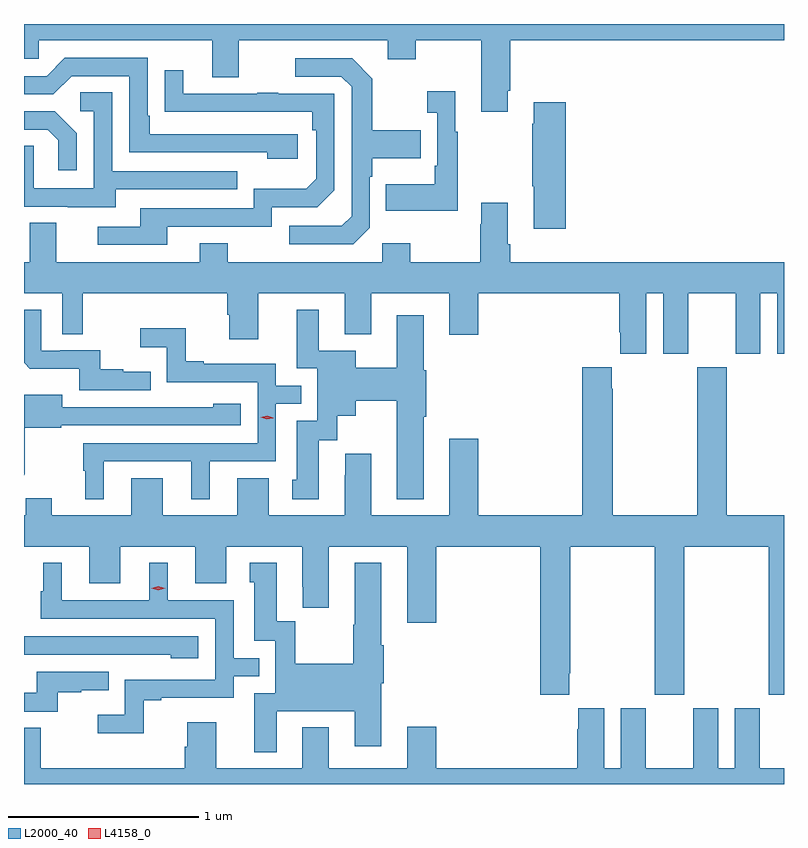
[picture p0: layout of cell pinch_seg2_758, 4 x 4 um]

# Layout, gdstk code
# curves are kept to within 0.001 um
import gdstk
lib = gdstk.Library(unit=1e-6, precision=1e-09)
def P(c, l, *ps):  # polygons
    for p in ps: c.add(gdstk.Polygon(p, *l))
L2000_40 = (2000, 40)
L4158_0 = (4158, 0)

pinch_seg2_758 = lib.new_cell('pinch_seg2_758')
P(pinch_seg2_758, L2000_40, [(735.733,663.355),(735.746,663.355),(735.746,663.62),(737.186,663.62),(737.186,663.706),(733.186,663.706),(733.186,663.522),(733.263,663.522),(733.263,663.62),(734.177,663.62),(734.177,663.426),(734.317,663.426),(734.317,663.62),(735.101,663.62),(735.101,663.521),(735.249,663.521),(735.249,663.62),(735.593,663.62),(735.593,663.243),(735.733,663.243)],
  [(734.626,663.126),(733.849,663.126),(733.849,663.223),(733.836,663.223),(733.836,663.528),(733.401,663.528),(733.305,663.432),(733.187,663.432),(733.186,663.429),(733.186,663.336),(733.341,663.336),(733.437,663.432),(733.74,663.432),(733.74,663.03),(734.465,663.03),(734.465,662.996),(734.626,662.996)],
  [(735.006,662.634),(735.006,662.903),(735.019,662.903),(735.019,662.999),(735.275,662.999),(735.275,663.147),(735.019,663.147),(735.019,663.419),(734.913,663.525),(734.613,663.525),(734.613,663.429),(734.856,663.429),(734.91,663.375),(734.91,662.694),(734.859,662.643),(734.583,662.643),(734.583,662.547),(734.919,662.547)],
  [(733.939,662.64),(734.49,662.64),(734.49,662.742),(734.73,662.742),(734.82,662.832),(734.82,663.339),(734.525,663.339),(734.525,663.344),(734.413,663.344),(734.413,663.339),(734.023,663.339),(734.023,663.463),(733.927,663.463),(733.927,663.244),(734.704,663.243),(734.704,663.146),(734.724,663.146),(734.724,662.892),(734.671,662.839),(734.394,662.839),(734.394,662.736),(733.799,662.736),(733.799,662.64),(733.575,662.64),(733.575,662.544),(733.939,662.544)],
  [(735.469,663.139),(735.457,663.139),(735.457,663.352),(735.309,663.352),(735.309,663.239),(735.36,663.239),(735.36,662.959),(735.348,662.959),(735.348,662.863),(735.091,662.863),(735.091,662.723),(735.469,662.723)],
  [(733.669,662.835),(734.309,662.835),(734.309,662.931),(733.65,662.931),(733.65,663.347),(733.482,663.347),(733.482,663.246),(733.554,663.246),(733.554,662.841),(733.236,662.841),(733.236,663.065),(733.186,663.065),(733.186,662.745),(733.415,662.745),(733.415,662.741),(733.669,662.741)],
  [(736.037,663.295),(735.869,663.295),(735.869,663.182),(735.862,663.182),(735.862,662.851),(735.869,662.851),(735.869,662.628),(736.037,662.628)],
  [(733.464,663.13),(733.348,663.246),(733.186,663.246),(733.186,663.15),(733.31,663.15),(733.367,663.093),(733.367,662.937),(733.464,662.937)],
  [(733.357,662.66),(733.217,662.66),(733.217,662.452),(733.186,662.452),(733.186,662.288),(733.386,662.288),(733.386,662.074),(733.495,662.074),(733.495,662.288),(734.255,662.288),(734.255,662.175),(734.267,662.175),(734.267,662.046),(734.419,662.046),(734.419,662.288),(734.873,662.288),(734.873,662.072),(735.013,662.072),(735.013,662.288),(735.425,662.288),(735.425,662.07),(735.578,662.07),(735.578,662.288),(736.319,662.288),(736.319,662.083),(736.325,662.083),(736.325,661.971),(736.462,661.971),(736.462,662.288),(736.55,662.288),(736.55,661.971),(736.681,661.971),(736.681,662.288),(736.931,662.288),(736.931,661.971),(737.062,661.971),(737.062,662.288),(737.15,662.288),(737.15,661.971),(737.186,661.971),(737.186,662.452),(735.746,662.452),(735.746,662.548),(735.733,662.548),(735.733,662.764),(735.593,662.764),(735.593,662.651),(735.586,662.651),(735.586,662.452),(735.219,662.452),(735.219,662.551),(735.072,662.551),(735.072,662.452),(734.259,662.452),(734.259,662.551),(734.111,662.551),(734.111,662.452),(733.357,662.452)],
  [(733.853,661.876),(733.709,661.876),(733.709,661.888),(733.586,661.888),(733.586,661.989),(733.378,661.989),(733.378,661.986),(733.278,661.986),(733.278,662.203),(733.186,662.203),(733.186,661.922),(733.217,661.892),(733.476,661.892),(733.476,661.779),(733.853,661.779)],
  [(735.289,661.64),(735.302,661.64),(735.302,661.884),(735.289,661.884),(735.289,662.173),(735.149,662.173),(735.149,661.896),(734.932,661.896),(734.932,661.987),(734.737,661.987),(734.737,662.203),(734.621,662.203),(734.621,661.893),(734.73,661.893),(734.73,661.617),(734.621,661.617),(734.621,661.308),(734.597,661.308),(734.597,661.206),(734.737,661.206),(734.737,661.514),(734.835,661.514),(734.835,661.643),(734.932,661.643),(734.932,661.724),(735.149,661.724),(735.149,661.205),(735.289,661.205)],
  [(733.606,661.404),(734.066,661.404),(734.066,661.205),(734.164,661.205),(734.164,661.404),(734.511,661.404),(734.511,661.707),(734.644,661.707),(734.644,661.803),(734.511,661.803),(734.511,661.917),(734.131,661.917),(734.131,661.93),(734.037,661.93),(734.037,662.105),(733.797,662.105),(733.797,662.006),(733.938,662.006),(733.938,661.821),(734.415,661.821),(734.415,661.5),(733.497,661.5),(733.497,661.356),(733.508,661.356),(733.508,661.205),(733.606,661.205)],
  [(735.578,661.522),(735.425,661.522),(735.425,661.12),(735.013,661.12),(735.013,661.444),(734.876,661.444),(734.876,661.331),(734.873,661.331),(734.873,661.12),(734.473,661.12),(734.473,661.315),(734.309,661.315),(734.309,661.12),(733.915,661.12),(733.915,661.315),(733.751,661.315),(733.751,661.12),(733.333,661.12),(733.333,661.211),(733.195,661.211),(733.195,661.12),(733.186,661.12),(733.186,660.956),(733.529,660.956),(733.529,660.762),(733.693,660.762),(733.693,660.956),(734.087,660.956),(734.087,660.762),(734.251,660.762),(734.251,660.956),(734.651,660.956),(734.651,660.745),(734.654,660.745),(734.654,660.633),(734.791,660.633),(734.791,660.956),(735.203,660.956),(735.203,660.555),(735.356,660.555),(735.356,660.956),(735.902,660.956),(735.902,660.177),(736.057,660.177),(736.057,660.289),(736.062,660.289),(736.062,660.956),(736.507,660.956),(736.507,660.177),(736.662,660.177),(736.662,660.956),(737.107,660.956),(737.107,660.177),(737.186,660.177),(737.186,661.12),(736.884,661.12),(736.884,661.9),(736.729,661.9),(736.729,661.12),(736.284,661.12),(736.284,661.787),(736.279,661.787),(736.279,661.9),(736.124,661.9),(736.124,661.12),(735.578,661.12)],
  [(733.191,661.335),(733.191,661.581),(733.383,661.581),(733.383,661.593),(734.326,661.593),(734.326,661.708),(734.181,661.708),(734.181,661.69),(733.387,661.689),(733.387,661.756),(733.186,661.756),(733.186,661.33)],
  [(734.515,660.089),(734.927,660.089),(734.927,659.904),(735.067,659.904),(735.067,660.236),(735.08,660.236),(735.08,660.436),(735.067,660.436),(735.067,660.871),(734.927,660.871),(734.927,660.545),(734.92,660.545),(734.92,660.34),(734.613,660.34),(734.613,660.563),(734.515,660.563),(734.515,660.871),(734.375,660.871),(734.375,660.768),(734.399,660.768),(734.399,660.459),(734.508,660.459),(734.508,660.183),(734.399,660.183),(734.399,659.874),(734.515,659.874)],
  [(733.815,660.147),(733.909,660.147),(733.909,660.159),(734.289,660.159),(734.289,660.273),(734.423,660.273),(734.423,660.369),(734.289,660.369),(734.289,660.672),(733.942,660.672),(733.942,660.871),(733.844,660.871),(733.844,660.672),(733.384,660.672),(733.384,660.871),(733.286,660.871),(733.286,660.72),(733.275,660.72),(733.275,660.576),(734.193,660.576),(734.193,660.255),(733.716,660.255),(733.716,660.07),(733.575,660.07),(733.575,659.972),(733.815,659.972)],
  [(734.104,660.483),(733.186,660.483),(733.186,660.387),(733.723,660.387),(733.723,660.386),(733.959,660.386),(733.959,660.368),(734.104,660.368)],
  [(733.364,660.189),(733.487,660.189),(733.487,660.2),(733.631,660.2),(733.631,660.297),(733.254,660.297),(733.254,660.185),(733.186,660.185),(733.186,660.087),(733.364,660.087)],
  [(737.186,659.788),(737.059,659.788),(737.059,660.106),(736.928,660.106),(736.928,659.788),(736.84,659.788),(736.84,660.106),(736.709,660.106),(736.709,659.788),(736.459,659.788),(736.459,660.106),(736.328,660.106),(736.328,659.788),(736.24,659.788),(736.24,660.106),(736.103,660.106),(736.103,659.993),(736.097,659.993),(736.097,659.788),(735.356,659.788),(735.356,660.007),(735.203,660.007),(735.203,659.788),(734.791,659.788),(734.791,660.004),(734.651,660.004),(734.651,659.788),(734.197,659.788),(734.197,660.031),(734.045,660.031),(734.045,659.901),(734.033,659.901),(734.033,659.788),(733.273,659.788),(733.273,660.002),(733.186,660.002),(733.186,659.706),(737.186,659.706)])
P(pinch_seg2_758, L4158_0, [(733.893,660.726),(733.857,660.736),(733.857,660.736),(733.857,660.736),(733.893,660.746),(733.929,660.736),(733.929,660.736),(733.929,660.736)],
  [(734.464,661.625),(734.431,661.637),(734.43,661.637),(734.431,661.637),(734.466,661.645),(734.499,661.633),(734.499,661.632),(734.499,661.632)])

lib.write_gds('pinch_seg2_758.gds')
